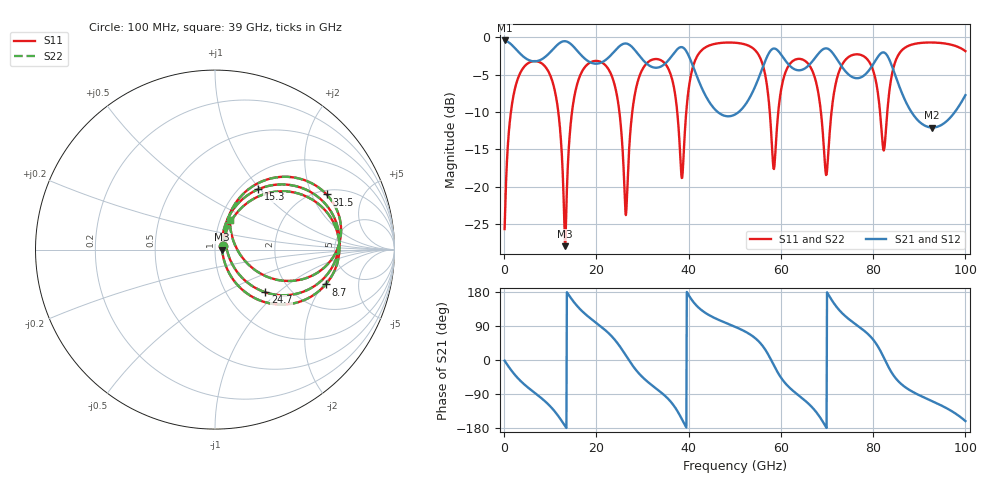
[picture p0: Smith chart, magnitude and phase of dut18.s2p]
! Touchstone file exported from HFSS 2026.1.0
!  File:  C:/ffzhzh/LocalFiles/Ansys_Project_Files/temp_train_TSV_RDL_18_1783438321_34316.aedt
!  Generated:  11:56:47 PM Jul  7, 2026
!  Design:  TSV_RDL
!  Project:  temp_train_TSV_RDL_18_1783438321_34316
! Variables:
!  h_bsmrdl = 3.61um
!  h_ox = 20um
!  h_rdl = 5um
!  h_sub = 52.34um
!  h_tmrdl = 2.27um
!  h_tsv = 52.34um
!  h_via = 3um
!  l_bsmrdl = 534.75um
!  l_sub = 4579.17um
!  l_tmrdl = 622.82um
!  m_sub = 200um
!  pitch = 56.07um
!  r_tsv = 10.74um
!  s_tmrdl = 10um
!  w_bsmrdl = 17.87um
!  w_sub = 500um
!  w_tmrdl = 10.01um
!  x_tsv_center1 = 627.825um
!  x_tsv_center2 = 1180.445um
!  x_tsv_center3 = 1813.275um
!  x_tsv_center4 = 2365.895um
!  x_tsv_center5 = 2998.725um
!  x_tsv_center6 = 3551.345um
# GHz S MA R 50.000000
! Terminal data exported
! Port[1] = TM_RDL1_1_T1
! Port[2] = TM_RDL5_1_T1
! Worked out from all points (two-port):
!   1000 points, 100 MHz to 100 GHz, reference 50 ohm
!   highest |S21| = -0.41 dB at 100 MHz (marker M1); lowest = -12.1 dB at 92.8 GHz (marker M2)
!   |S21| within 3 dB of the highest: start of sweep to 18.93 GHz; 20.91 GHz to 30.71 GHz (9.797 GHz wide, 38 % of centre) (the widest 2 of 6)
!   lowest |S11| = -28.0 dB at 13.2 GHz (marker M3), VSWR 1.08, Z = 54.2 - j0.121 ohm
!   |S11| at or under -10 dB: 11.74 GHz to 14.71 GHz (2.971 GHz wide, 22.5 % of centre); 24.98 GHz to 27.78 GHz (2.792 GHz wide, 10.6 % of centre); 68.68 GHz to 70.97 GHz (2.297 GHz wide, 3.29 % of centre) (the widest 3 of 7)
!   |S22| runs from -27.9 to -0.7 dB; largest |S21 - S12| = 2.1e-13
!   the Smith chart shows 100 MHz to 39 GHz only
!   S11 on the Smith chart (normalised r, x): 100 MHz: 1.10, +0.05; 8.7 GHz: 3.16, -2.11; 15.3 GHz: 1.20, +0.98; 24.7 GHz: 1.50, -0.83; 31.5 GHz: 2.19, +2.59; 39 GHz: 1.11, +0.38
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0.1  0.05191 25.3  0.9536 -1.9  0.9536 -1.9  0.05191 25.3
! Gamma 0 0 0 0
! Port Impedance 50 0 50 0
2.6  0.4867 41.8  0.8302 -43.0  0.8302 -43.0  0.4867 41.8
8.7  0.647 -17.4  0.7319 -107.1  0.7319 -107.1  0.647 -17.4
13.2  0.03989 -1.6  0.9427 -173.8  0.9427 -173.8  0.04005 -1.6
15.3  0.4138 54.3  0.8501 150.2  0.8501 150.2  0.4137 54.3
16.8  0.584 36.7  0.7545 130.1  0.7545 130.1  0.5839 36.7
24.7  0.3673 -40.3  0.8553 42.3  0.8553 42.3  0.3673 -40.3
26.4  0.06444 13.0  0.9102 11.8  0.9102 11.8  0.06485 13.0
31.5  0.6937 26.3  0.6463 -61.4  0.6463 -61.4  0.6937 26.2
33.4  0.7134 10.4  0.6281 -79.5  0.6281 -79.5  0.7135 10.4
39  0.1849 63.2  0.8447 -166.8  0.8447 -166.8  0.1844 63.3
41.7  0.7331 46.1  0.557 143.7  0.557 143.7  0.733 46.1
50.1  0.9204 -2.4  0.3047 87.5  0.3047 87.5  0.9204 -2.5
55.8  0.6933 -41.4  0.5991 40.9  0.5991 40.9  0.6932 -41.5
58.2  0.158 -40.7  0.8376 -7.4  0.8376 -7.4  0.1564 -41.1
66.7  0.608 -28.6  0.6836 -123.9  0.6836 -123.9  0.6081 -28.4
69.8  0.1195 -2.9  0.8444 -177.2  0.8444 -177.2  0.1214 -2.8
73.4  0.667 26.2  0.6249 122.1  0.6249 122.1  0.6672 26.1
80.3  0.5576 -29.9  0.684 49.1  0.684 49.1  0.5575 -30.0
83.4  0.4059 44.3  0.7218 -20.2  0.7218 -20.2  0.4052 44.5
92.8  0.9239 -18.6  0.2488 -108.6  0.2488 -108.6  0.9239 -18.6
100  0.809 -65.0  0.4099 -161.1  0.4099 -161.1  0.8093 -64.8
